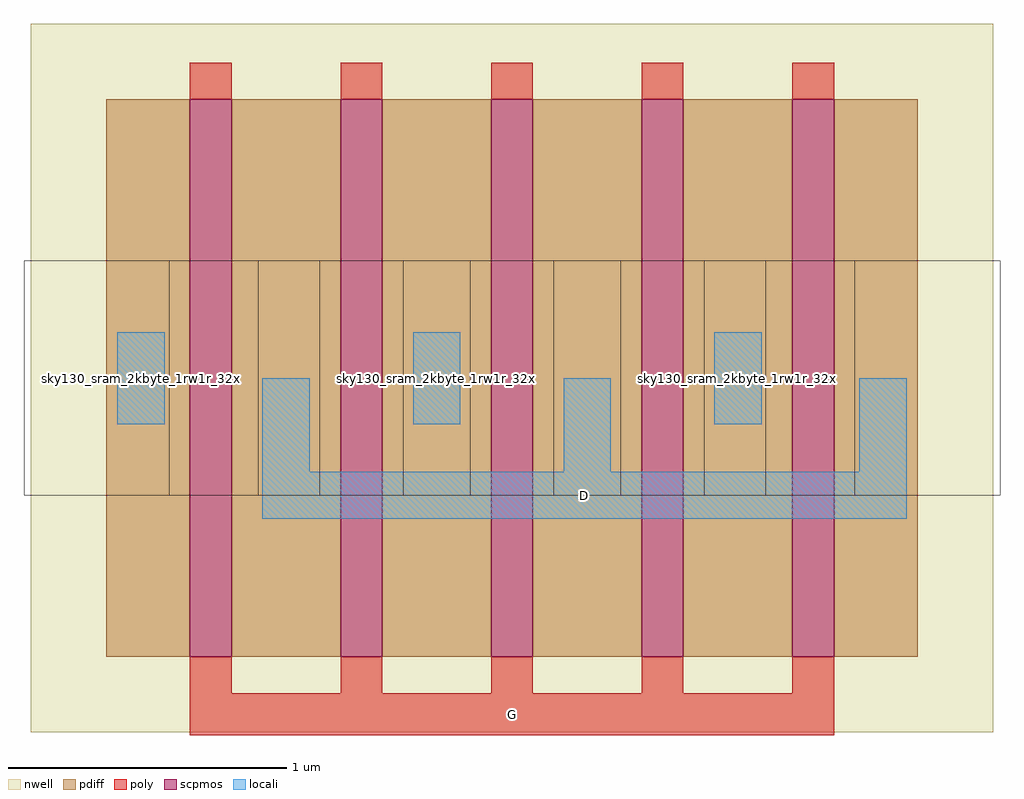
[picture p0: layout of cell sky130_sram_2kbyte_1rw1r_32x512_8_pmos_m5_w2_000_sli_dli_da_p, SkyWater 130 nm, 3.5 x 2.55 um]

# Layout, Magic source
magic
tech sky130A
magscale 1 2
<< nwell >>
rect -54 -54 636 454
<< scpmos >>
rect 60 0 90 400
rect 168 0 198 400
rect 276 0 306 400
rect 384 0 414 400
rect 492 0 522 400
<< pdiff >>
rect 0 0 60 400
rect 90 0 168 400
rect 198 0 276 400
rect 306 0 384 400
rect 414 0 492 400
rect 522 0 582 400
<< poly >>
rect 60 400 90 426
rect 168 400 198 426
rect 276 400 306 426
rect 384 400 414 426
rect 492 400 522 426
rect 60 -26 90 0
rect 168 -26 198 0
rect 276 -26 306 0
rect 384 -26 414 0
rect 492 -26 522 0
rect 60 -56 522 -26
<< locali >>
rect 8 167 42 233
rect 112 133 146 200
rect 220 167 254 233
rect 328 133 362 200
rect 436 167 470 233
rect 540 133 574 200
rect 112 99 574 133
use sky130_sram_2kbyte_1rw1r_32x512_8_contact_12  sky130_sram_2kbyte_1rw1r_32x512_8_contact_12_5
transform 1 0 0 0 1 167
box -59 -51 109 117
use sky130_sram_2kbyte_1rw1r_32x512_8_contact_12  sky130_sram_2kbyte_1rw1r_32x512_8_contact_12_4
transform 1 0 104 0 1 167
box -59 -51 109 117
use sky130_sram_2kbyte_1rw1r_32x512_8_contact_12  sky130_sram_2kbyte_1rw1r_32x512_8_contact_12_3
transform 1 0 212 0 1 167
box -59 -51 109 117
use sky130_sram_2kbyte_1rw1r_32x512_8_contact_12  sky130_sram_2kbyte_1rw1r_32x512_8_contact_12_2
transform 1 0 320 0 1 167
box -59 -51 109 117
use sky130_sram_2kbyte_1rw1r_32x512_8_contact_12  sky130_sram_2kbyte_1rw1r_32x512_8_contact_12_1
transform 1 0 428 0 1 167
box -59 -51 109 117
use sky130_sram_2kbyte_1rw1r_32x512_8_contact_12  sky130_sram_2kbyte_1rw1r_32x512_8_contact_12_0
transform 1 0 532 0 1 167
box -59 -51 109 117
<< labels >>
rlabel locali s 25 200 25 200 4 S
rlabel locali s 237 200 237 200 4 S
rlabel locali s 453 200 453 200 4 S
rlabel locali s 343 116 343 116 4 D
rlabel poly s 291 -41 291 -41 4 G
<< properties >>
string FIXED_BBOX -54 -56 636 454
<< end >>
